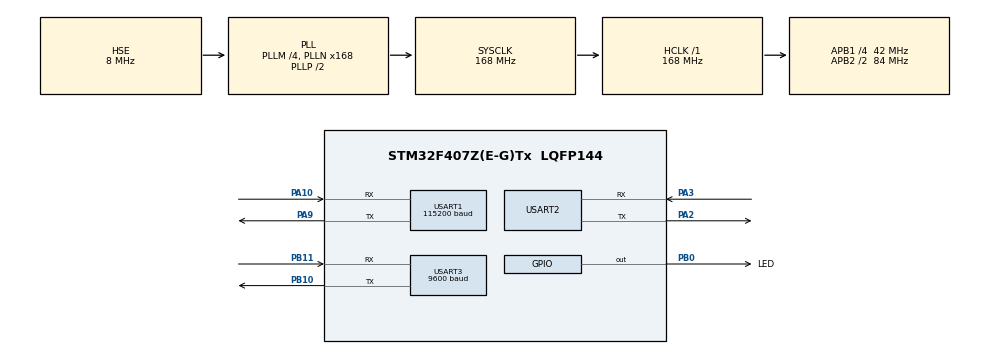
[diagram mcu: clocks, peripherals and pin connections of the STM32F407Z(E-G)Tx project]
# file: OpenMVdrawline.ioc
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Mcu.Family=STM32F4
Mcu.Name=STM32F407Z(E-G)Tx
Mcu.Package=LQFP144
NVIC.PriorityGroup=NVIC_PRIORITYGROUP_4
NVIC.USART2_IRQn=true\:0\:0\:false\:false\:true\:true\:true
PA10.Mode=Asynchronous
PA10.Signal=USART1_RX
PA13.Mode=Serial_Wire
PA13.Signal=SYS_JTMS-SWDIO
PA14.Mode=Serial_Wire
PA14.Signal=SYS_JTCK-SWCLK
PA2.Mode=Asynchronous
PA2.Signal=USART2_TX
PA3.Mode=Asynchronous
PA3.Signal=USART2_RX
PA9.Mode=Asynchronous
PA9.Signal=USART1_TX
PB0.GPIO_Label=LED
PB0.Signal=GPIO_Output
PB10.Mode=Asynchronous
PB10.Signal=USART3_TX
PB11.Mode=Asynchronous
PB11.Signal=USART3_RX
PH0-OSC_IN.Mode=HSE-External-Oscillator
PH0-OSC_IN.Signal=RCC_OSC_IN
PH1-OSC_OUT.Mode=HSE-External-Oscillator
PH1-OSC_OUT.Signal=RCC_OSC_OUT
ProjectManager.HeapSize=0x200
ProjectManager.StackSize=0x400
ProjectManager.TargetToolchain=MDK-ARM V5.27
RCC.48MHZClocksFreq_Value=84000000
RCC.AHBFreq_Value=168000000
RCC.APB1CLKDivider=RCC_HCLK_DIV4
RCC.APB1Freq_Value=42000000
RCC.APB1TimFreq_Value=84000000
RCC.APB2CLKDivider=RCC_HCLK_DIV2
RCC.APB2Freq_Value=84000000
RCC.APB2TimFreq_Value=168000000
RCC.CortexFreq_Value=168000000
RCC.HCLKFreq_Value=168000000
RCC.HSE_VALUE=8000000
RCC.HSI_VALUE=16000000
RCC.LSE_VALUE=32768
RCC.PLLM=4
RCC.PLLN=168
RCC.PLLSourceVirtual=RCC_PLLSOURCE_HSE
RCC.SYSCLKFreq_VALUE=168000000
RCC.SYSCLKSource=RCC_SYSCLKSOURCE_PLLCLK
RCC.VCOOutputFreq_Value=336000000
USART1.BaudRate=115200
USART1.VirtualMode=VM_ASYNC
USART2.VirtualMode=VM_ASYNC
USART3.BaudRate=9600
USART3.VirtualMode=VM_ASYNC
board=custom

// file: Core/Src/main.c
/* USER CODE BEGIN Header */
/**
  ******************************************************************************
  * @file           : main.c
  * @brief          : Main program body
  ******************************************************************************
  * @attention
  *
  * <h2><center>&copy; Copyright (c) 2020 STMicroelectronics.
  * All rights reserved.</center></h2>
  *
  * This software component is licensed by ST under BSD 3-Clause license,
  * the "License"; You may not use this file except in compliance with the
  * License. You may obtain a copy of the License at:
  *                        opensource.org/licenses/BSD-3-Clause
  *
  ******************************************************************************
  */
/* USER CODE END Header */
#include "main.h"
#include "usart.h"
#include "gpio.h"

/* USER CODE BEGIN PV */
uint8_t aRx;
uint8_t aRxbuffer[255];
uint8_t aRxCount =0 ;
int error_flag = 1;

/* USER CODE END PV */

void SystemClock_Config(void);

int main(void)
{

  /* MCU Configuration--------------------------------------------------------*/

  /* Reset of all peripherals, Initializes the Flash interface and the Systick. */
  HAL_Init();

  /* Configure the system clock */
  SystemClock_Config();

  /* Initialize all configured peripherals */
  MX_GPIO_Init();
  MX_USART1_UART_Init();
  MX_USART2_UART_Init();
  MX_USART3_UART_Init();
  /* USER CODE BEGIN 2 */
  HAL_UART_Receive_IT(&huart2,(uint8_t *)&aRx, 1);
  /* USER CODE END 2 */

  /* Infinite loop */
  while (1)
  {
    if(error_flag==1){
    /* USER CODE BEGIN 3 */
		printf("AT+NMGS=1,00\r\n\r\n");
		HAL_Delay(500);}
		if(error_flag==0){
    /* USER CODE BEGIN 3 */
			HAL_Delay(500);
		printf("AT+NMGS=1,01\r\n\r\n");
				HAL_Delay(500);
	}

   }
  /* USER CODE END 3 */
}

void SystemClock_Config(void)
{
  RCC_OscInitTypeDef RCC_OscInitStruct = {0};
  RCC_ClkInitTypeDef RCC_ClkInitStruct = {0};

  /** Configure the main internal regulator output voltage
  */
  __HAL_RCC_PWR_CLK_ENABLE();
  __HAL_PWR_VOLTAGESCALING_CONFIG(PWR_REGULATOR_VOLTAGE_SCALE1);
  /** Initializes the RCC Oscillators according to the specified parameters
  * in the RCC_OscInitTypeDef structure.
  */
  RCC_OscInitStruct.OscillatorType = RCC_OSCILLATORTYPE_HSE;
  RCC_OscInitStruct.HSEState = RCC_HSE_ON;
  RCC_OscInitStruct.PLL.PLLState = RCC_PLL_ON;
  RCC_OscInitStruct.PLL.PLLSource = RCC_PLLSOURCE_HSE;
  RCC_OscInitStruct.PLL.PLLM = 4;
  RCC_OscInitStruct.PLL.PLLN = 168;
  RCC_OscInitStruct.PLL.PLLP = RCC_PLLP_DIV2;
  RCC_OscInitStruct.PLL.PLLQ = 4;
  if (HAL_RCC_OscConfig(&RCC_OscInitStruct) != HAL_OK)
  {
    Error_Handler();
  }
  /** Initializes the CPU, AHB and APB buses clocks
  */
  RCC_ClkInitStruct.ClockType = RCC_CLOCKTYPE_HCLK|RCC_CLOCKTYPE_SYSCLK
                              |RCC_CLOCKTYPE_PCLK1|RCC_CLOCKTYPE_PCLK2;
  RCC_ClkInitStruct.SYSCLKSource = RCC_SYSCLKSOURCE_PLLCLK;
  RCC_ClkInitStruct.AHBCLKDivider = RCC_SYSCLK_DIV1;
  RCC_ClkInitStruct.APB1CLKDivider = RCC_HCLK_DIV4;
  RCC_ClkInitStruct.APB2CLKDivider = RCC_HCLK_DIV2;

  if (HAL_RCC_ClockConfig(&RCC_ClkInitStruct, FLASH_LATENCY_5) != HAL_OK)
  {
    Error_Handler();
  }
}

/* USER CODE BEGIN 4 */
void HAL_UART_RxCpltCallback(UART_HandleTypeDef *huart)
{
    aRxbuffer[aRxCount++]=aRx;
    uint8_t endmsg[3] = {0xff,0xff,0xff};
    if((aRxbuffer[aRxCount-1] == 0x0A)&&(aRxbuffer[aRxCount-2] == 0x0D)) //判断结束�?
    {
			if(aRxbuffer[0]=='e' && error_flag == 1)
			{
				HAL_GPIO_WritePin(LED_GPIO_Port, LED_Pin, GPIO_PIN_SET);
				printf("AT+NMGS=1,01\r\n\r\n");
				error_flag =0 ;
			}
        HAL_UART_Transmit(&huart1, (uint8_t *)&aRxbuffer, aRxCount-2,0xFFFF);
        HAL_UART_Transmit(&huart1,endmsg,3,0xff);
        aRxCount = 0;
        memset(aRxbuffer,0x00,sizeof(aRxbuffer)); //清空数组
    }
    HAL_UART_Receive_IT(&huart2, (uint8_t *)&aRx, 1);   //再开启接收中�?

}
/* USER CODE END 4 */

void Error_Handler(void)
{
}

/************************ (C) COPYRIGHT STMicroelectronics *****END OF FILE****/
